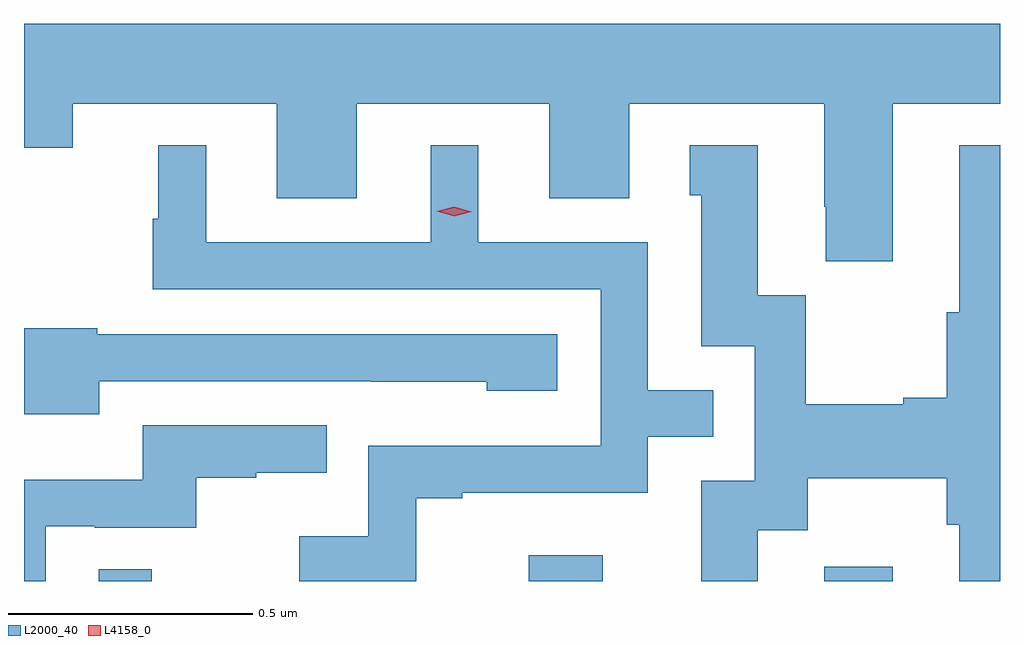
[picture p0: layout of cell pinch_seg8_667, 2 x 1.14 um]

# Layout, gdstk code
import gdstk
lib = gdstk.Library(unit=1e-6, precision=1e-09)
def R(c, l, rs):  # rectangles x0, y0, x1, y1
    for r in rs: c.add(gdstk.rectangle(r[:2], r[2:], *l))
def P(c, l, *ps):  # polygons
    for p in ps: c.add(gdstk.Polygon(p, *l))
L2000_40 = (2000, 40)
L4158_0 = (4158, 0)

pinch_seg8_667 = lib.new_cell('pinch_seg8_667')
R(pinch_seg8_667, L2000_40, [(365.088,1120.849,365.197,1120.874), (365.969,1120.849,366.121,1120.903), (366.575,1120.849,366.715,1120.879)])
P(pinch_seg8_667, L2000_40, [(366.715,1121.828),(366.935,1121.828),(366.935,1121.992),(364.935,1121.992),(364.935,1121.738),(365.035,1121.738),(365.035,1121.828),(365.453,1121.828),(365.453,1121.634),(365.617,1121.634),(365.617,1121.828),(366.011,1121.828),(366.011,1121.634),(366.175,1121.634),(366.175,1121.828),(366.575,1121.828),(366.575,1121.617),(366.578,1121.617),(366.578,1121.505),(366.715,1121.505)],
  [(365.739,1121.019),(365.833,1121.019),(365.833,1121.031),(366.213,1121.031),(366.213,1121.145),(366.347,1121.145),(366.347,1121.241),(366.213,1121.241),(366.213,1121.544),(365.866,1121.544),(365.866,1121.743),(365.768,1121.743),(365.768,1121.544),(365.308,1121.544),(365.308,1121.743),(365.21,1121.743),(365.21,1121.592),(365.199,1121.592),(365.199,1121.448),(366.117,1121.448),(366.117,1121.127),(365.64,1121.127),(365.64,1120.942),(365.499,1120.942),(365.499,1120.849),(365.739,1120.849)],
  [(366.439,1120.954),(366.541,1120.954),(366.541,1121.06),(366.826,1121.06),(366.826,1120.965),(366.851,1120.965),(366.851,1120.849),(366.935,1120.849),(366.935,1121.743),(366.851,1121.743),(366.851,1121.401),(366.826,1121.401),(366.826,1121.225),(366.737,1121.225),(366.737,1121.212),(366.537,1121.212),(366.537,1121.435),(366.439,1121.435),(366.439,1121.743),(366.299,1121.743),(366.299,1121.64),(366.323,1121.64),(366.323,1121.331),(366.432,1121.331),(366.432,1121.055),(366.323,1121.055),(366.323,1120.849),(366.439,1120.849)],
  [(365.089,1121.259),(365.647,1121.259),(365.647,1121.258),(365.883,1121.258),(365.883,1121.24),(366.028,1121.24),(366.028,1121.355),(365.085,1121.355),(365.085,1121.368),(364.935,1121.368),(364.935,1121.192),(365.089,1121.192)],
  [(364.98,1120.962),(365.08,1120.962),(365.08,1120.959),(365.288,1120.959),(365.288,1121.061),(365.411,1121.061),(365.411,1121.072),(365.555,1121.072),(365.555,1121.169),(365.178,1121.169),(365.178,1121.057),(364.935,1121.057),(364.935,1120.849),(364.98,1120.849)])
P(pinch_seg8_667, L4158_0, [(365.817,1121.597),(365.781,1121.608),(365.781,1121.608),(365.781,1121.608),(365.817,1121.617),(365.852,1121.606),(365.853,1121.606),(365.852,1121.606)])

lib.write_gds('pinch_seg8_667.gds')
